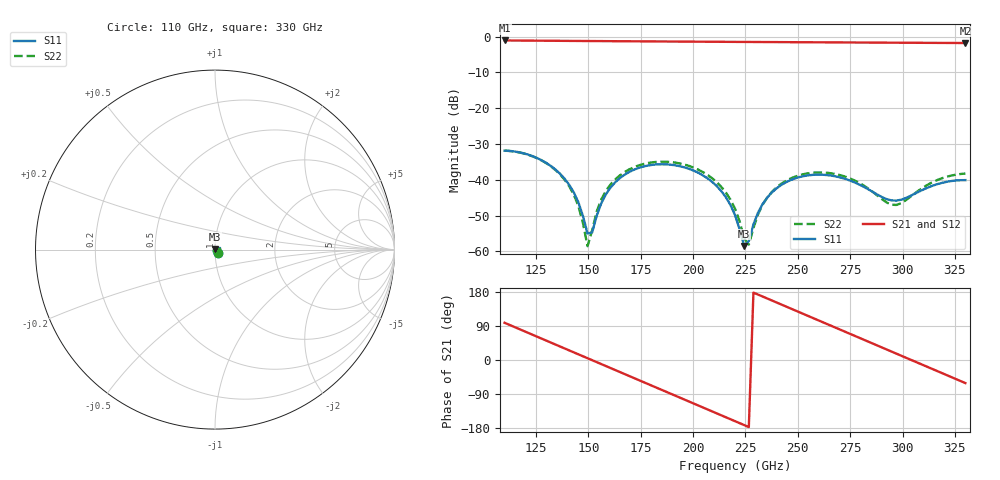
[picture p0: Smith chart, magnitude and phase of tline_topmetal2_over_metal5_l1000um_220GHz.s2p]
#  GHZ S DB R 50
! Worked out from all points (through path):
!   101 points, 110 GHz to 330 GHz, reference 50 ohm
!   highest |S21| = -1.07 dB at 110 GHz (marker M1); lowest = -1.8 dB at 330 GHz (marker M2)
!   group delay of S21, straight-line fit = 6.55 ps
!   lowest |S11| = -58.5 dB at 224.4 GHz (marker M3), VSWR 1.00, Z = 49.9 + j0.0626 ohm
!   |S11| at or under -10 dB: start of sweep to end of sweep
!   |S22| runs from -58.5 to -31.9 dB; largest |S21 - S12| = 1.5e-13
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110  -31.84 -54.8  -1.07 98.2  -1.07 98.2  -31.87 -54.9
121  -32.93 -81.4  -1.11 72.2  -1.11 72.2  -32.96 -81.5
134.2  -37.09 -115.3  -1.16 41.0  -1.16 41.0  -37.24 -114.9
143  -43.49 -143.4  -1.20 20.3  -1.20 20.3  -44.10 -141.8
147.4  -50.08 -170.4  -1.21 9.9  -1.21 9.9  -52.05 -169.1
149.6  -55.03 152.8  -1.22 4.7  -1.22 4.7  -58.55 137.0
151.8  -54.71 86.6  -1.23 -0.5  -1.23 -0.5  -54.10 63.1
154  -49.99 52.9  -1.24 -5.7  -1.24 -5.7  -48.79 40.6
160.6  -42.15 19.0  -1.27 -21.3  -1.27 -21.3  -41.29 13.9
171.6  -37.22 -12.9  -1.31 -47.2  -1.31 -47.2  -36.52 -16.3
184.8  -35.65 -47.0  -1.35 -78.3  -1.35 -78.3  -34.94 -49.9
206.8  -39.56 -104.5  -1.42 -130.2  -1.42 -130.2  -38.60 -107.0
220  -49.83 -151.7  -1.47 -161.4  -1.47 -161.4  -48.07 -151.5
224.4  -58.51 148.1  -1.48 -171.8  -1.48 -171.8  -56.39 164.1
226.6  -57.08 84.1  -1.49 -177.0  -1.49 -177.0  -58.13 99.3
231  -49.17 38.9  -1.50 172.7  -1.50 172.7  -49.64 38.5
237.6  -43.55 12.8  -1.52 157.1  -1.52 157.1  -43.39 10.6
257.4  -38.61 -45.6  -1.58 110.4  -1.58 110.4  -38.01 -47.3
275  -40.23 -101.9  -1.63 68.8  -1.63 68.8  -39.64 -101.5
294.8  -45.77 152.4  -1.69 22.1  -1.69 22.1  -46.96 149.2
312.4  -42.09 46.4  -1.74 -19.4  -1.74 -19.4  -41.25 32.9
330  -40.09 -18.7  -1.78 -60.9  -1.78 -60.9  -38.25 -28.4
